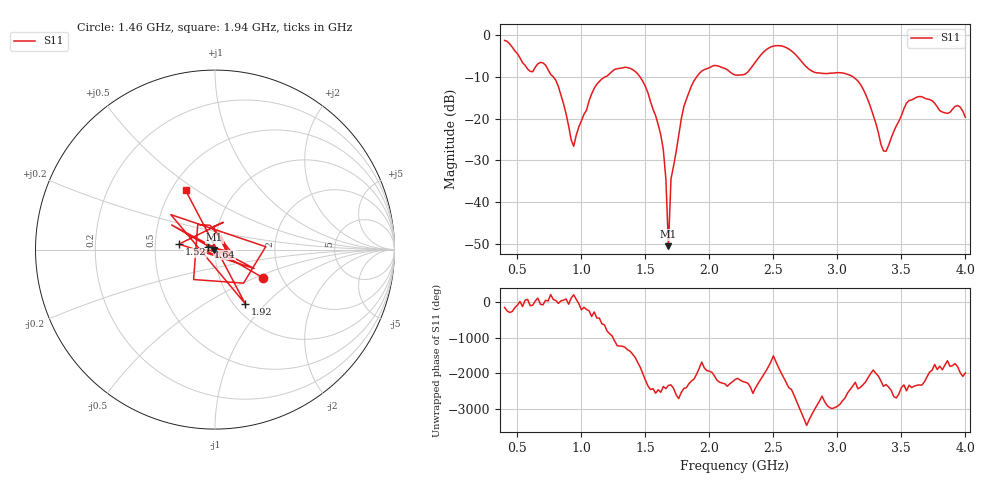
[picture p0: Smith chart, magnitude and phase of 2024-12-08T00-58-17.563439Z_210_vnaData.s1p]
!Created with skrf (http://scikit-rf.org).
# Hz S RI R 50.0
!freq ReS11 ImS11
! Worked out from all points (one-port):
!   181 points, 400 MHz to 4 GHz, reference 50 ohm
!   lowest |S11| = -50.5 dB at 1.68 GHz (marker M1), VSWR 1.01, Z = 49.7 - j0.0414 ohm
!   |S11| at or under -10 dB: 780.1 MHz to 1.189 GHz (408.8 MHz wide, 41.5 % of centre); 1.457 GHz to 1.902 GHz (444.8 MHz wide, 26.5 % of centre); 3.12 GHz to end of sweep
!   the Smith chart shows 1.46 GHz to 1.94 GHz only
!   S11 on the Smith chart (normalised r, x): 1.46 GHz: 1.61, -0.56; 1.52 GHz: 0.66, +0.04; 1.64 GHz: 0.92, +0.03; 1.92 GHz: 1.13, -0.77; 1.94 GHz: 0.59, +0.45
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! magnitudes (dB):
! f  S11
! 400 MHz  -1.3
! 600 MHz  -8.7
! 720 MHz  -7.2
! 860 MHz  -16.4
! 940 MHz  -26.6
! 1.1 GHz  -12.8
! 1.3 GHz  -8.0
! 1.46 GHz  -10.1
! 1.52 GHz  -13.9
! 1.64 GHz  -27.5
! 1.66 GHz  -34.5
! 1.68 GHz  -50.5
! 1.7 GHz  -34.5
! 1.76 GHz  -24.1
! 1.8 GHz  -17.2
! 1.92 GHz  -9.3
! 1.94 GHz  -8.7
! 2.2 GHz  -9.6
! 2.48 GHz  -2.9
! 2.66 GHz  -4.3
! 2.82 GHz  -8.9
! 3.1 GHz  -9.6
! 3.22 GHz  -14.2
! 3.36 GHz  -27.8
! 3.56 GHz  -15.7
! 3.86 GHz  -18.8
! 3.94 GHz  -16.9
! 4 GHz  -19.7
